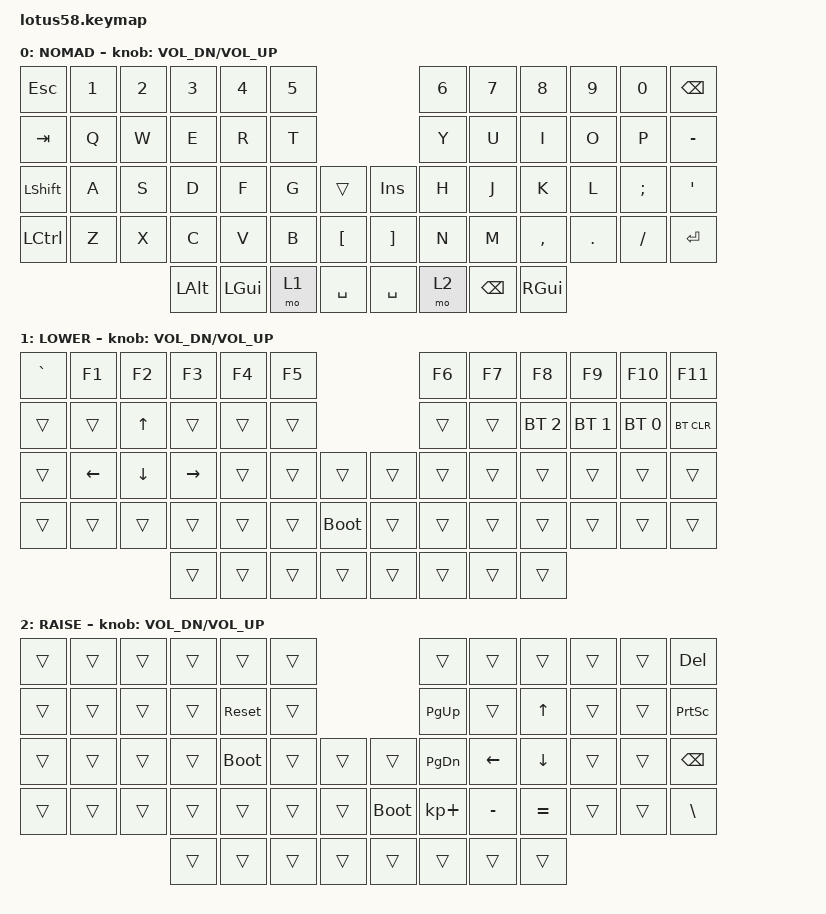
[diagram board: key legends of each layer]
/*
 * Copyright (c) 2022 The ZMK Contributors
 *
 * SPDX-License-Identifier: MIT
 */

#include <behaviors.dtsi>
#include <dt-bindings/zmk/keys.h>
#include <dt-bindings/zmk/bt.h>
#include <dt-bindings/zmk/outputs.h>

&left_encoder { status = "disabled"; };
&right_encoder { 
    compatible = "alps,ec11";
    a-gpios = <&pro_micro 21 (GPIO_ACTIVE_HIGH | GPIO_PULL_UP)>;
    b-gpios = <&pro_micro 20 (GPIO_ACTIVE_HIGH | GPIO_PULL_UP)>;
    steps = <80>; 
};
&sensors {
  sensors = <&right_encoder>;
  triggers-per-rotation = <20>;
};

/ {
    keymap {
        compatible = "zmk,keymap";

        default_layer {
            label="NOMAD";
//   ------------------------------------------------------------------------------------------------------------
//  0|  ESC  |  1  |  2  |  3   |  4   |  5   |                     |  6   |  7    |  8    |  9   |   0   |   =   | 11
// 12|  TAB  |  Q  |  W  |  E   |  R   |  T   |                     |  Y   |  U    |  I    |  O   |   P   |   [   | 23
// 24|  SFT  |  A  |  S  |  D   |  F   |  G   |  RESET  |  | RESET  |  H   |  J    |  K    |  L   |   ;   | ' SFT | 37
// 38|  CTRL |  Z  |  X  |  C   |  V   |  B   |  MUTE   |  | PLAY   |  N   |  M    |  ,    |  .   |   /   | \ CTRL| 51
// 52                    |ENT RS|  ALT | SPACE|DELETE LW|  |ENTER RS| BSPC |  ] LW | RGUI  |                        59
            bindings = <
&kp ESC   &kp N1 &kp N2   &kp N3     &kp N4    &kp N5                               &kp N6    &kp N7      &kp N8    &kp N9   &kp N0   &kp BSPC
&kp TAB   &kp Q  &kp W    &kp E      &kp R     &kp T                                &kp Y     &kp U       &kp I     &kp O    &kp P    &kp MINUS
&kp LSHFT &kp A  &kp S    &kp D      &kp F     &kp G      &trans         &kp INS    &kp H     &kp J       &kp K     &kp L    &kp SEMI &kp SQT
&kp LCTRL &kp Z  &kp X    &kp C      &kp V     &kp B      &kp LBKT       &kp RBKT   &kp N     &kp M       &kp COMMA &kp DOT  &kp FSLH &kp RET
                          &kp LALT   &kp LGUI  &mo 1      &kp SPACE      &kp SPACE  &mo 2  &kp BSPC  &kp RGUI  
            >;

            // sensor-bindings = <&inc_dec_kp C_VOL_UP C_VOL_DN &inc_dec_kp C_VOL_UP C_VOL_DN>;
            sensor-bindings = <&inc_dec_kp C_VOL_DN C_VOL_UP>;
        };

        lower_layer {
            label="LOWER";
// ------------------------------------------------------------------------------------------------------------
// | `     |  F1 |  F2 |  F3  |  F4  |  F5  |                   |  F6  |  F7   |  F8   |  F9  |  F10  |  F11  |
// |       |  !  | HOME|   ^  |  END |  %   |                   | VOL^ |  PGUP |  INS  |  ^   |  PSCR |   -   |
// |       |  #  |  <- |   v  | ->   |  $   |        |  |       | VOLv |    <- |   ^   |  ->  |   ~   |   _   |
// |       |  @  |  -  |  (   |  )   |  &   |        |  |       | MUTE |  PGDN |   v   |  :   |   *   |   |   |
//                     |  F11 |      |      |        |  |       |      |       |  F12  |
            bindings = <
&kp GRAVE  &kp F1    &kp F2    &kp F3      &kp F4     &kp F5                     &kp F6        &kp F7     &kp F8    &kp F9     &kp F10   &kp F11
&trans     &trans  	 &kp UP    &trans      &trans     &trans                     &trans        &trans &bt BT_SEL 2 &bt BT_SEL 1 &bt BT_SEL 0 &bt BT_CLR
&trans     &kp LEFT  &kp DOWN  &kp RIGHT   &trans     &trans    &trans   &trans  &trans        &trans     &trans    &trans     &trans    &trans
&trans     &trans    &trans    &trans      &trans     &trans &bootloader &trans  &trans        &trans     &trans    &trans     &trans    &trans
                               &trans      &trans     &trans    &trans   &trans  &trans        &trans     &trans
            >;

            // sensor-bindings = <&inc_dec_kp C_VOL_UP C_VOL_DN &inc_dec_kp C_VOL_UP C_VOL_DN>;
            sensor-bindings = <&inc_dec_kp C_VOL_DN C_VOL_UP>;
        };

        raise_layer {
            label="RAISE";
// ------------------------------------------------------------------------------------------------------------
// |BTCLR| BT1  | BT2  |  BT3  |  BT4  |  BT5 |                |OUTTOG|OUTUSB| OUTBT |      | RESET | FLASH |
// |     | INS  | PSCR | GUI   | RESET |      |                | PGUP |      |   ^   |      |       |       |
// |     | ALT  | CTRL | SHIFT | FLASH | CAPS |      |  |      | PGDN |   <- |   v   |  ->  |  DEL  | BSPC  |
// |     | UNDO | CUT  | COPY  | PASTE |      |      |  |      |      |  |>  |  <|<| | |>|> |       |       |
//                     |       |       |      |      |  |      |      |      |       |
            bindings = <
&trans     &trans       &trans       &trans       &trans       &trans                          &trans        &trans        &trans        &trans     &trans  &kp DEL
&trans     &trans       &trans       &trans       &sys_reset   &trans                          &kp PG_UP     &trans        &kp UP        &trans     &trans  &kp PSCRN
&trans     &trans       &trans       &trans       &bootloader  &trans       &trans   &trans    &kp PG_DN     &kp LEFT      &kp DOWN      &trans     &trans  &kp BSPC
&trans     &trans       &trans       &trans       &trans       &trans       &trans   &bootloader    &kp KP_PLUS   &kp MINUS     &kp EQUAL     &trans     &trans  &kp BSLH
                                     &trans       &trans       &trans       &trans   &trans    &trans        &trans        &trans   
            >;

            // sensor-bindings = <&inc_dec_kp C_VOL_UP C_VOL_DN &inc_dec_kp C_VOL_UP C_VOL_DN>;
            sensor-bindings = <&inc_dec_kp C_VOL_DN C_VOL_UP>;
        };
    };
};
